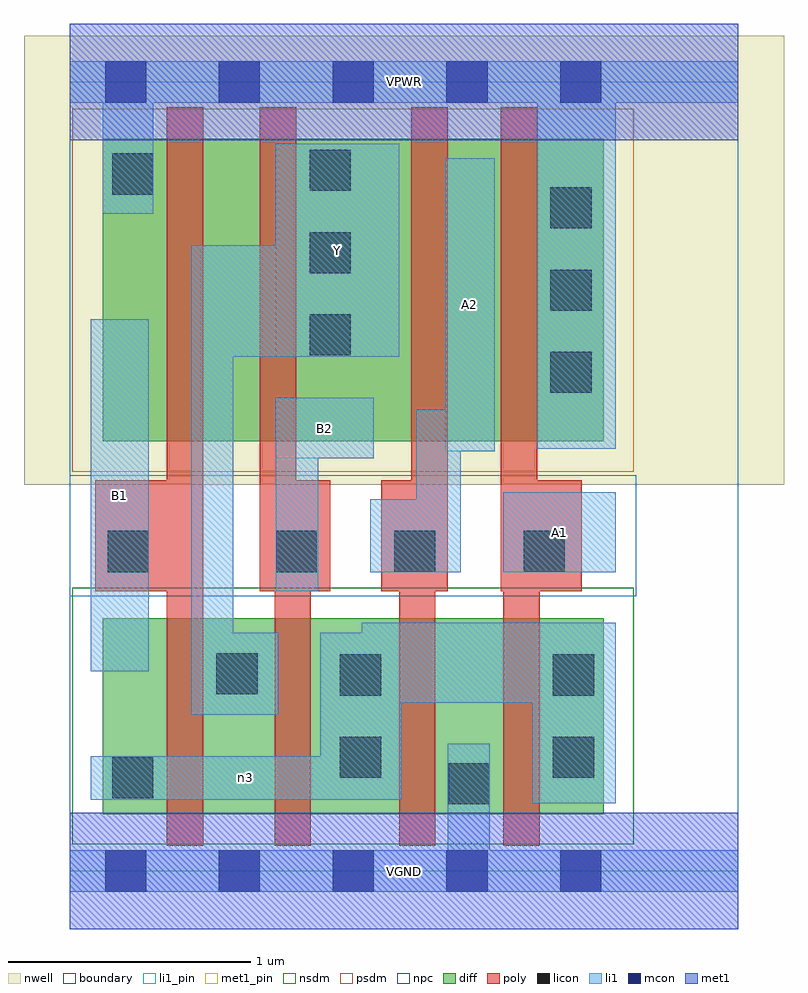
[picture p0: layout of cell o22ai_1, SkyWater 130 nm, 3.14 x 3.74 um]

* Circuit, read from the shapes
.subckt o22ai_1 A1 A2 B1 B2 VGND VPWR Y n3
XM1 Y B1 n3 VSUBS sky130_fd_pr__nfet_01v8 w=0.81 l=0.15
XM2 n3 B2 Y VSUBS sky130_fd_pr__nfet_01v8 w=0.81 l=0.15
XM3 VGND A2 n3 VSUBS sky130_fd_pr__nfet_01v8 w=0.81 l=0.15
XM4 n3 A1 VGND VSUBS sky130_fd_pr__nfet_01v8 w=0.81 l=0.15
XM5 n1 B1 VPWR n2 sky130_fd_pr__pfet_01v8 w=1.25 l=0.15
XM6 Y B2 n1 n2 sky130_fd_pr__pfet_01v8 w=1.25 l=0.15
XM7 n4 A2 Y n2 sky130_fd_pr__pfet_01v8 w=1.25 l=0.15
XM8 VPWR A1 n4 n2 sky130_fd_pr__pfet_01v8 w=1.25 l=0.15
.ends

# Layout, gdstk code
import gdstk
lib = gdstk.Library(unit=1e-6, precision=1e-09)
def R(c, l, rs):  # rectangles x0, y0, x1, y1
    for r in rs: c.add(gdstk.rectangle(r[:2], r[2:], *l))
def A(c, l, x, y, w, h, nx, ny, dx, dy):  # array of equal rectangles
    R(c, l, [(x+i*dx, y+j*dy, x+i*dx+w, y+j*dy+h) for i in range(nx) for j in range(ny)])
nwell = (64, 20)
diff = (65, 20)
poly = (66, 20)
licon = (66, 44)
li1_pin = (67, 16)
li1 = (67, 20)
mcon = (67, 44)
met1_pin = (68, 16)
met1 = (68, 20)
nsdm = (93, 44)
psdm = (94, 20)
npc = (95, 20)
boundary = (235, 4)

o22ai_1 = lib.new_cell('o22ai_1')
R(o22ai_1, nwell, [(-0.19,1.595,2.95,3.45), (0,1.595,2.76,3.45)])
R(o22ai_1, diff, [(0.135,0.235,2.205,1.045), (0.135,1.775,2.205,3.025)])
R(o22ai_1, poly, [(0.4,0.105,0.55,3.155), (0.845,0.105,0.995,1.615), (1.36,0.105,1.51,1.615), (1.79,0.105,1.94,1.615), (0.105,1.155,0.55,1.615), (0.785,1.155,0.935,3.155), (0.785,1.155,1.075,1.615), (1.285,1.155,1.56,1.615), (1.41,1.155,1.56,3.155), (1.78,1.155,1.93,3.155), (1.78,1.155,2.115,1.615)])
A(o22ai_1, licon, 1.985, 1.975, 0.17, 0.17, 1, 3, 0, 0.34)
A(o22ai_1, licon, 0.99, 2.13, 0.17, 0.17, 1, 3, 0, 0.34)
R(o22ai_1, licon, [(1.565,0.275,1.735,0.445), (0.175,0.3,0.345,0.47), (1.115,0.385,1.285,0.555), (1.995,0.385,2.165,0.555), (1.115,0.725,1.285,0.895), (1.995,0.725,2.165,0.895), (0.605,0.73,0.775,0.9), (0.155,1.235,0.325,1.405), (0.85,1.235,1.02,1.405), (1.34,1.235,1.51,1.405), (1.875,1.235,2.045,1.405), (0.175,2.795,0.345,2.965)])
R(o22ai_1, li1_pin, [(0.085,0.825,0.325,2.28), (1.79,1.235,2.255,1.565), (0.85,1.705,1.255,1.955), (1.55,1.735,1.755,2.945), (0.85,2.125,1.36,3.005)])
R(o22ai_1, li1, [(0,-0.085,2.76,0.085), (1.56,-0.085,1.735,0.525), (1.91,0.28,2.255,1.025), (0.085,0.295,1.37,0.475), (1.035,0.295,1.37,0.985), (0.5,0.645,0.675,2.585), (0.5,0.645,0.86,0.985), (1.205,0.695,2.255,1.025), (0.085,0.825,0.325,2.28), (0.85,1.155,1.025,1.955), (1.24,1.235,1.615,1.535), (1.43,1.235,1.615,1.905), (1.79,1.235,2.255,1.565), (0.85,1.705,1.255,1.955), (1.55,1.735,1.755,2.945), (1.93,1.745,2.255,3.345), (0.5,2.125,1.36,2.585), (0.85,2.125,1.36,3.005), (0.135,2.715,0.345,3.345), (0,3.175,2.76,3.345)])
A(o22ai_1, mcon, 0.145, -0.085, 0.17, 0.17, 5, 2, 0.47, 3.26)
R(o22ai_1, met1_pin, [(0,-0.24,2.76,0.24), (0,3.02,2.76,3.5)])
R(o22ai_1, met1, [(0,-0.24,2.76,0.24), (0,3.02,2.76,3.5)])
R(o22ai_1, nsdm, [(0.01,0.11,2.33,1.17)])
R(o22ai_1, psdm, [(0.01,1.65,2.33,3.15)])
R(o22ai_1, npc, [(0,1.135,2.34,1.635)])
R(o22ai_1, boundary, [(0,0,2.76,3.26)])
o22ai_1.add(gdstk.Label('A1', (2.022,1.4), layer=67, texttype=5))
o22ai_1.add(gdstk.Label('A2', (1.652,2.34), layer=67, texttype=5))
o22ai_1.add(gdstk.Label('B1', (0.205,1.552), layer=67, texttype=5))
o22ai_1.add(gdstk.Label('B2', (1.052,1.83), layer=67, texttype=5))
o22ai_1.add(gdstk.Label('Y', (1.105,2.565), layer=67, texttype=5))
o22ai_1.add(gdstk.Label('n3', (0.727,0.385), layer=67, texttype=5))
o22ai_1.add(gdstk.Label('VPWR', (1.38,3.26), layer=68, texttype=5))
o22ai_1.add(gdstk.Label('VGND', (1.38,0), layer=68, texttype=5))
o22ai_1.add(gdstk.Label('A1', (2.022,1.4), layer=67, texttype=16))
o22ai_1.add(gdstk.Label('A2', (1.652,2.34), layer=67, texttype=16))
o22ai_1.add(gdstk.Label('B1', (0.205,1.552), layer=67, texttype=16))
o22ai_1.add(gdstk.Label('B2', (1.052,1.83), layer=67, texttype=16))
o22ai_1.add(gdstk.Label('Y', (1.105,2.565), layer=67, texttype=16))
o22ai_1.add(gdstk.Label('VPWR', (1.38,3.26), layer=68, texttype=16))
o22ai_1.add(gdstk.Label('VGND', (1.38,0), layer=68, texttype=16))

lib.write_gds('o22ai_1.gds')
